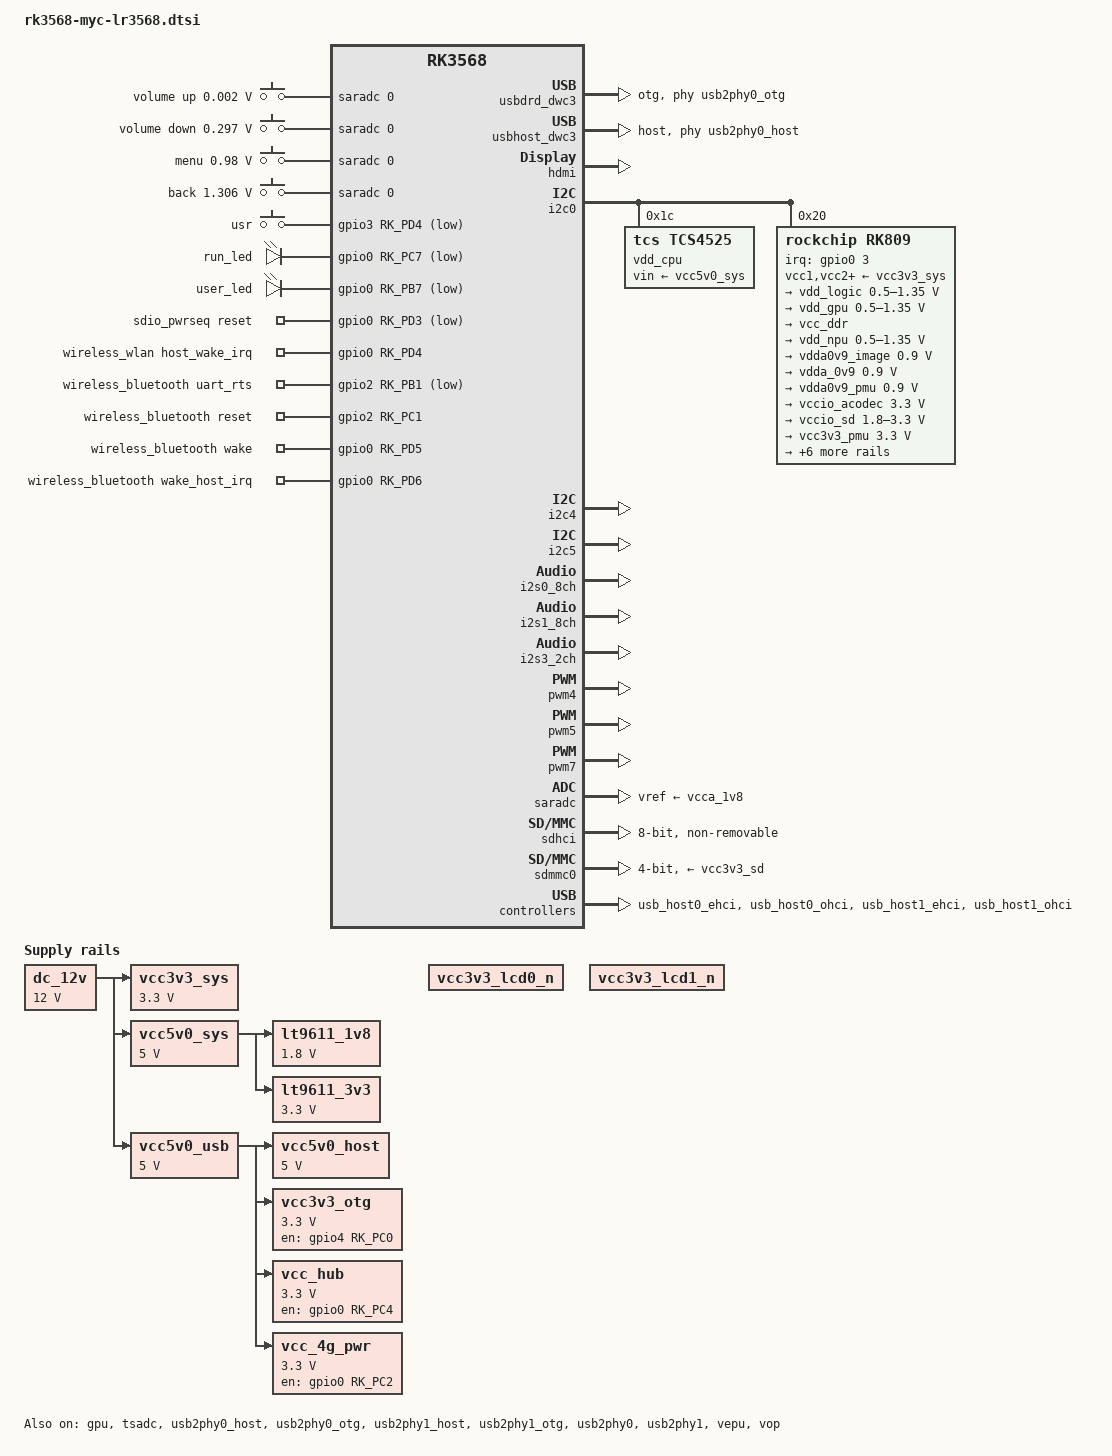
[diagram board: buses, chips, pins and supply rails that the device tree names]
// SPDX-License-Identifier: (GPL-2.0+ OR MIT)
/*
 * Copyright (c) 2020 Rockchip Electronics Co., Ltd.
 *
 */

#include <dt-bindings/gpio/gpio.h>
#include <dt-bindings/pwm/pwm.h>
#include <dt-bindings/pinctrl/rockchip.h>
// #include <dt-bindings/input/rk-input.h>
#include <dt-bindings/input/linux-event-codes.h>
//#include <dt-bindings/display/drm_mipi_dsi.h>
//#include <dt-bindings/sensor-dev.h>

/ {

	adc_keys: adc-keys {
		compatible = "adc-keys";
		io-channels = <&saradc 0>;
		io-channel-names = "buttons";
		keyup-threshold-microvolt = <1800000>;
		poll-interval = <100>;

		vol-up-key {
			label = "volume up";
			linux,code = <KEY_VOLUMEUP>;
			press-threshold-microvolt = <1750>;
		};

		vol-down-key {
			label = "volume down";
			linux,code = <KEY_VOLUMEDOWN>;
			press-threshold-microvolt = <297500>;
		};

		menu-key {
			label = "menu";
			linux,code = <KEY_MENU>;
			press-threshold-microvolt = <980000>;
		};

		back-key {
			label = "back";
			linux,code = <KEY_BACK>;
			press-threshold-microvolt = <1305500>;
		};
	};

	gpio-keys {
		status = "okay";
		compatible = "gpio-keys";
		autorepeat;
		usr {
			label = "usr";
			linux,code = <KEY_HOME>;
			gpios = <&gpio3 RK_PD4 GPIO_ACTIVE_LOW>;
		};
	};

/*	audiopwmout_diff: audiopwmout-diff {
		status = "disabled";
		compatible = "simple-audio-card";
		simple-audio-card,format = "i2s";
		simple-audio-card,name = "rockchip,audiopwmout-diff";
		simple-audio-card,mclk-fs = <256>;
		simple-audio-card,bitclock-master = <&master>;
		simple-audio-card,frame-master = <&master>;
		simple-audio-card,cpu {
			sound-dai = <&i2s3_2ch>;
		};
		master: simple-audio-card,codec {
			sound-dai = <&dig_acodec>;
		};
	};

	backlight: backlight {
		compatible = "pwm-backlight";
		pwms = <&pwm4 0 25000 0>;
		brightness-levels = <
			  0  20  20  21  21  22  22  23
			 23  24  24  25  25  26  26  27
			 27  28  28  29  29  30  30  31
			 31  32  32  33  33  34  34  35
			 35  36  36  37  37  38  38  39
			 40  41  42  43  44  45  46  47
			 48  49  50  51  52  53  54  55
			 56  57  58  59  60  61  62  63
			 64  65  66  67  68  69  70  71
			 72  73  74  75  76  77  78  79
			 80  81  82  83  84  85  86  87
			 88  89  90  91  92  93  94  95
			 96  97  98  99 100 101 102 103
			104 105 106 107 108 109 110 111
			112 113 114 115 116 117 118 119
			120 121 122 123 124 125 126 127
			128 129 130 131 132 133 134 135
			136 137 138 139 140 141 142 143
			144 145 146 147 148 149 150 151
			152 153 154 155 156 157 158 159
			160 161 162 163 164 165 166 167
			168 169 170 171 172 173 174 175
			176 177 178 179 180 181 182 183
			184 185 186 187 188 189 190 191
			192 193 194 195 196 197 198 199
			200 201 202 203 204 205 206 207
			208 209 210 211 212 213 214 215
			216 217 218 219 220 221 222 223
			224 225 226 227 228 229 230 231
			232 233 234 235 236 237 238 239
			240 241 242 243 244 245 246 247
			248 249 250 251 252 253 254 255
		>;
		default-brightness-level = <255>;
	};*/

	bt_sco: bt-sco {
		status = "okay";
		compatible = "delta,dfbmcs320";
		#sound-dai-cells = <1>;
	};

	bt_sound: bt-sound {
		status = "okay";
		compatible = "simple-audio-card";
		simple-audio-card,format = "dsp_a";
		simple-audio-card,bitclock-inversion;
		simple-audio-card,mclk-fs = <256>;
		simple-audio-card,name = "rockchip,bt";
		simple-audio-card,cpu {
			sound-dai = <&i2s3_2ch>;
		};
		simple-audio-card,codec {
			sound-dai = <&bt_sco 1>;
		};
	};

	dc_12v: dc-12v {
		compatible = "regulator-fixed";
		regulator-name = "dc_12v";
		regulator-always-on;
		regulator-boot-on;
		regulator-min-microvolt = <12000000>;
		regulator-max-microvolt = <12000000>;
	};

	lt9611_1v8: lt9611-1v8 {
		compatible = "regulator-fixed";
		regulator-name = "lt9611_1v8";
		regulator-always-on;
		regulator-boot-on;
		regulator-min-microvolt = <1800000>;
		regulator-max-microvolt = <1800000>;
		vin-supply = <&vcc5v0_sys>;
	};

	lt9611_3v3: lt9611-3v3 {
		compatible = "regulator-fixed";
		regulator-name = "lt9611_3v3";
		regulator-always-on;
		regulator-boot-on;
		regulator-min-microvolt = <3300000>;
		regulator-max-microvolt = <3300000>;
		vin-supply = <&vcc5v0_sys>;
	};

	hdmi_sound: hdmi-sound {
		compatible = "simple-audio-card";
		simple-audio-card,format = "i2s";
		simple-audio-card,mclk-fs = <128>;
		simple-audio-card,name = "rockchip,hdmi";
		status = "disabled";

		simple-audio-card,cpu {
				sound-dai = <&i2s0_8ch>;
		};
		simple-audio-card,codec {
				sound-dai = <&hdmi>;
		};
	};

	leds: leds {
		compatible = "gpio-leds";
		run_led: run {
			gpios = <&gpio0 RK_PC7 GPIO_ACTIVE_LOW>;
			linux,default-trigger = "heartbeat";
		};

		user_led: user {
			gpios = <&gpio0 RK_PB7 GPIO_ACTIVE_LOW>;
			linux,default-trigger = "heartbeat";
		};
	};

	pdmics: dummy-codec {
		status = "disabled";
		compatible = "rockchip,dummy-codec";
		#sound-dai-cells = <0>;
	};

	pdm_mic_array: pdm-mic-array {
		status = "disabled";
		compatible = "simple-audio-card";
		simple-audio-card,name = "rockchip,pdm-mic-array";
		simple-audio-card,cpu {
			sound-dai = <&pdm>;
		};
		simple-audio-card,codec {
			sound-dai = <&pdmics>;
		};
	};

/*	rk809_sound: rk809-sound {
		status = "okay";
		compatible = "rockchip,multicodecs-card";
		rockchip,card-name = "rockchip-rk809";
		hp-det-gpio = <&gpio3 RK_PA2 GPIO_ACTIVE_HIGH>;
		rockchip,format = "i2s";
		rockchip,mclk-fs = <256>;
		rockchip,cpu = <&i2s1_8ch>;
		rockchip,codec = <&rk809_codec>;
		pinctrl-names = "default";
		pinctrl-0 = <&hp_det>;
	};

	vad_sound: vad-sound {
		status = "disabled";
		compatible = "rockchip,multicodecs-card";
		rockchip,card-name = "rockchip,rk3568-vad";
		rockchip,cpu = <&i2s1_8ch>;
		rockchip,codec = <&rk809_codec>, <&vad>;
	};*/

	vcc3v3_sys: vcc3v3-sys {
		compatible = "regulator-fixed";
		regulator-name = "vcc3v3_sys";
		regulator-always-on;
		regulator-boot-on;
		regulator-min-microvolt = <3300000>;
		regulator-max-microvolt = <3300000>;
		vin-supply = <&dc_12v>;
	};

	vcc5v0_sys: vcc5v0-sys {
		compatible = "regulator-fixed";
		regulator-name = "vcc5v0_sys";
		regulator-always-on;
		regulator-boot-on;
		regulator-min-microvolt = <5000000>;
		regulator-max-microvolt = <5000000>;
		vin-supply = <&dc_12v>;
	};

	vcc5v0_usb: vcc5v0-usb {
		compatible = "regulator-fixed";
		regulator-name = "vcc5v0_usb";
		regulator-always-on;
		regulator-boot-on;
		regulator-min-microvolt = <5000000>;
		regulator-max-microvolt = <5000000>;
		vin-supply = <&dc_12v>;
	};

	vcc5v0_host: vcc5v0-host-regulator {
		compatible = "regulator-fixed";
		regulator-name = "vcc5v0_host";
		regulator-boot-on;
		regulator-always-on;
		regulator-min-microvolt = <5000000>;
		regulator-max-microvolt = <5000000>;
		enable-active-high;
		vin-supply = <&vcc5v0_usb>;
	};

	vcc3v3_otg: vcc3v3-otg-regulator {
		compatible = "regulator-fixed";
		regulator-name = "vcc3v3_otg";
		regulator-min-microvolt = <3300000>;
		regulator-max-microvolt = <3300000>;
		enable-active-high;
		gpio = <&gpio4 RK_PC0 GPIO_ACTIVE_HIGH>;
		vin-supply = <&vcc5v0_usb>;
		pinctrl-names = "default";
		pinctrl-0 = <&vcc3v3_otg_en>;
	};

	vcc_hub: vcc-hub-regulator {
		compatible = "regulator-fixed";
		regulator-name = "vcc_hub";
		regulator-min-microvolt = <3300000>;
		regulator-max-microvolt = <3300000>;
		enable-active-high;
		regulator-always-on;
		regulator-boot-on;
		gpio = <&gpio0 RK_PC4 GPIO_ACTIVE_HIGH>;
		vin-supply = <&vcc5v0_usb>;
		pinctrl-names = "default";
		pinctrl-0 = <&usb_hub>;
	};

	vcc_4g_pwr: 4g-pwr-regulator {
		compatible = "regulator-fixed";
		regulator-name = "vcc_4g_pwr";
		regulator-min-microvolt = <3300000>;
		regulator-max-microvolt = <3300000>;
		enable-active-high;
		regulator-always-on;
		regulator-boot-on;
		gpio = <&gpio0 RK_PC2 GPIO_ACTIVE_HIGH>;
		vin-supply = <&vcc5v0_usb>;
		pinctrl-names = "default";
		pinctrl-0 = <&usb_4g_pwr>;
	};

	vcc3v3_lcd0_n: vcc3v3-lcd0-n {
		compatible = "regulator-fixed";
		regulator-name = "vcc3v3_lcd0_n";
		regulator-boot-on;
		regulator-state-mem {
			regulator-off-in-suspend;
		};
	};

	vcc3v3_lcd1_n: vcc3v3-lcd1-n {
		compatible = "regulator-fixed";
		regulator-name = "vcc3v3_lcd1_n";
		regulator-boot-on;
		regulator-state-mem {
			regulator-off-in-suspend;
		};
	};

	sdio_pwrseq: sdio-pwrseq {
		compatible = "mmc-pwrseq-simple";
		clocks = <&rk809 1>;
		clock-names = "ext_clock";
		pinctrl-names = "default";
		pinctrl-0 = <&wifi_enable_h>;

		/*
		 * On the module itself this is one of these (depending
		 * on the actual card populated):
		 * - SDIO_RESET_L_WL_REG_ON
		 * - PDN (power down when low)
		 */
		post-power-on-delay-ms = <200>;
		reset-gpios = <&gpio0 RK_PD3 GPIO_ACTIVE_LOW>;
		status = "okay";
	};

	wireless_wlan: wireless-wlan {
		compatible = "wlan-platdata";
		rockchip,grf = <&grf>;
		wifi_chip_type = "ap6256";
		pinctrl-names = "default";
		pinctrl-0 = <&wifi_host_wake_irq>;
		WIFI,host_wake_irq = <&gpio0 RK_PD4 GPIO_ACTIVE_HIGH>;
		// WIFI,poweren_gpio = <&gpio0 RK_PD3 GPIO_ACTIVE_HIGH>;
		status = "okay";
	};

	wireless_bluetooth: wireless-bluetooth {
		compatible = "bluetooth-platdata";
		clocks = <&rk809 1>;
		clock-names = "ext_clock";
		//wifi-bt-power-toggle;
		uart_rts_gpios = <&gpio2 RK_PB1 GPIO_ACTIVE_LOW>;
		pinctrl-names = "default", "rts_gpio";
		pinctrl-0 = <&uart8m0_rtsn>;
		pinctrl-1 = <&uart8_gpios>;
		BT,reset_gpio    = <&gpio2 RK_PC1 GPIO_ACTIVE_HIGH>;
		BT,wake_gpio     = <&gpio0 RK_PD5 GPIO_ACTIVE_HIGH>;
		BT,wake_host_irq = <&gpio0 RK_PD6 GPIO_ACTIVE_HIGH>;
		status = "okay";
	};

	test-power {
		status = "okay";
	};

	usbdrd30: usbdrd {
		compatible = "rockchip,rk3568-dwc3", "rockchip,rk3399-dwc3";
		clocks = <&cru CLK_USB3OTG0_REF>, <&cru CLK_USB3OTG0_SUSPEND>,
			 <&cru ACLK_USB3OTG0>, <&cru PCLK_PIPE>;
		clock-names = "ref_clk", "suspend_clk",
			      "bus_clk", "pipe_clk";
		#address-cells = <2>;
		#size-cells = <2>;
		ranges;
		status = "disabled";

		usbdrd_dwc3: dwc3@fcc00000 {
			compatible = "snps,dwc3";
			reg = <0x0 0xfcc00000 0x0 0x400000>;
			interrupts = <GIC_SPI 169 IRQ_TYPE_LEVEL_HIGH>;
			dr_mode = "otg";
			phys = <&usb2phy0_otg>, <&combphy0 PHY_TYPE_USB3>;
			phy-names = "usb2-phy", "usb3-phy";
			phy_type = "utmi_wide";
			power-domains = <&power RK3568_PD_PIPE>;
			resets = <&cru SRST_USB3OTG0>;
			reset-names = "usb3-otg";
			snps,dis_enblslpm_quirk;
			snps,dis-u1-entry-quirk;
			snps,dis-u2-entry-quirk;
			snps,dis-u2-freeclk-exists-quirk;
			snps,dis-del-phy-power-chg-quirk;
			snps,dis-tx-ipgap-linecheck-quirk;
			snps,dis_rxdet_inp3_quirk;
			snps,parkmode-disable-hs-quirk;
			snps,parkmode-disable-ss-quirk;
			quirk-skip-phy-init;
			status = "disabled";
		};
	};

	usbhost30: usbhost {
		compatible = "rockchip,rk3568-dwc3", "rockchip,rk3399-dwc3";
		clocks = <&cru CLK_USB3OTG1_REF>, <&cru CLK_USB3OTG1_SUSPEND>,
			 <&cru ACLK_USB3OTG1>, <&cru PCLK_PIPE>;
		clock-names = "ref_clk", "suspend_clk",
			      "bus_clk", "pipe_clk";
		#address-cells = <2>;
		#size-cells = <2>;
		ranges;
		status = "disabled";

		usbhost_dwc3: dwc3@fd000000 {
			compatible = "snps,dwc3";
			reg = <0x0 0xfd000000 0x0 0x400000>;
			interrupts = <GIC_SPI 170 IRQ_TYPE_LEVEL_HIGH>;
			dr_mode = "host";
			phys = <&usb2phy0_host>, <&combphy1 PHY_TYPE_USB3>;
			phy-names = "usb2-phy", "usb3-phy";
			phy_type = "utmi_wide";
			power-domains = <&power RK3568_PD_PIPE>;
			resets = <&cru SRST_USB3OTG1>;
			reset-names = "usb3-host";
			snps,dis_enblslpm_quirk;
			snps,dis-u2-freeclk-exists-quirk;
			snps,dis-del-phy-power-chg-quirk;
			snps,dis-tx-ipgap-linecheck-quirk;
			snps,dis_rxdet_inp3_quirk;
			snps,parkmode-disable-hs-quirk;
			snps,parkmode-disable-ss-quirk;
			status = "disabled";
		};
	};
/*
	usb2phy0: usb2-phy@fe8a0000 {
		compatible = "rockchip,rk3568-usb2phy";
		reg = <0x0 0xfe8a0000 0x0 0x10000>;
		interrupts = <GIC_SPI 135 IRQ_TYPE_LEVEL_HIGH>;
		clocks = <&pmucru CLK_USBPHY0_REF>;
		clock-names = "phyclk";
		#clock-cells = <0>;
		assigned-clocks = <&cru USB480M>;
		assigned-clock-parents = <&usb2phy0>;
		clock-output-names = "usb480m_phy";
		rockchip,usbgrf = <&usb2phy0_grf>;
		status = "disabled";

		u2phy0_host: host-port {
			#phy-cells = <0>;
			status = "disabled";
		};

		u2phy0_otg: otg-port {
			#phy-cells = <0>;
			status = "disabled";
		};
	};

	usb2phy1: usb2-phy@fe8b0000 {
		compatible = "rockchip,rk3568-usb2phy";
		reg = <0x0 0xfe8b0000 0x0 0x10000>;
		interrupts = <GIC_SPI 136 IRQ_TYPE_LEVEL_HIGH>;
		clocks = <&pmucru CLK_USBPHY1_REF>;
		clock-names = "phyclk";
		#clock-cells = <0>;
		rockchip,usbgrf = <&usb2phy1_grf>;
		status = "disabled";

		u2phy1_host: host-port {
			#phy-cells = <0>;
			status = "disabled";
		};

		u2phy1_otg: otg-port {
			#phy-cells = <0>;
			status = "disabled";
		};
	};*/
};

// &bus_npu {
// 	bus-supply = <&vdd_logic>;
// 	pvtm-supply = <&vdd_cpu>;
// 	status = "okay";
// };

&cpu0 {
	cpu-supply = <&vdd_cpu>;
};

// &dfi {
// 	status = "okay";
// };
//
// &dmc {
// 	center-supply = <&vdd_logic>;
// 	status = "okay";
// };

&dsi0 {
	status = "disabled";
};

&dsi1 {
	status = "disabled";
	rockchip,lane-rate = <1200>;
	ports {
		#address-cells = <1>;
		#size-cells = <0>;

		port@1 {
			reg = <1>;
			dsi1_out_lt9611: endpoint {
				remote-endpoint = <&lt9611_in_dsi1>;
			};
		};
	};
};

&gpu {
	mali-supply = <&vdd_gpu>;
	status = "okay";
};

&hdmi {
	status = "okay";
	rockchip,phy-table =
		<92812500  0x8009 0x0000 0x0270>,
		<165000000 0x800b 0x0000 0x026d>,
		<185625000 0x800b 0x0000 0x01ed>,
		<297000000 0x800b 0x0000 0x01ad>,
		<594000000 0x8029 0x0000 0x0088>,
		<000000000 0x0000 0x0000 0x0000>;
};

// &hdmi_in_vp0 {
// 	status = "okay";
// };

// &hdmi_in_vp1 {
// 	status = "disabled";
// };

&hdmi_sound {
	status = "disabled";
};

/*
 * video_phy1 needs to be enabled
 * when dsi1 is enabled
 */
// &video_phy1 {
// 	status = "disabled";
// };

// &dsi1_in_vp0 {
// 	status = "disabled";
// };

&i2c0 {
	status = "okay";

	vdd_cpu: tcs4525@1c {
		compatible = "tcs,tcs4525";
		reg = <0x1c>;
		vin-supply = <&vcc5v0_sys>;
		regulator-compatible = "fan53555-reg";
		regulator-name = "vdd_cpu";
		regulator-min-microvolt = <712500>;
		regulator-max-microvolt = <1390000>;
		regulator-init-microvolt = <900000>;
		regulator-ramp-delay = <2300>;
		fcs,suspend-voltage-selector = <1>;
		regulator-boot-on;
		regulator-always-on;
		regulator-state-mem {
			regulator-off-in-suspend;
		};
	};

	rk809: pmic@20 {
		compatible = "rockchip,rk809";
		reg = <0x20>;
		interrupt-parent = <&gpio0>;
		interrupts = <3 IRQ_TYPE_LEVEL_LOW>;

		pinctrl-names = "default", "pmic-sleep",
				"pmic-power-off", "pmic-reset";
		pinctrl-0 = <&pmic_int>;
		pinctrl-1 = <&soc_slppin_slp>, <&rk817_slppin_slp>;
		pinctrl-2 = <&soc_slppin_gpio>, <&rk817_slppin_pwrdn>;
		pinctrl-3 = <&soc_slppin_gpio>, <&rk817_slppin_rst>;

		rockchip,system-power-controller;
		wakeup-source;
		#clock-cells = <1>;
		clock-output-names = "rk808-clkout1", "rk808-clkout2";
		//fb-inner-reg-idxs = <2>;
		/* 1: rst regs (default in codes), 0: rst the pmic */
		pmic-reset-func = <0>;
		/* not save the PMIC_POWER_EN register in uboot */
		not-save-power-en = <1>;

		vcc1-supply = <&vcc3v3_sys>;
		vcc2-supply = <&vcc3v3_sys>;
		vcc3-supply = <&vcc3v3_sys>;
		vcc4-supply = <&vcc3v3_sys>;
		vcc5-supply = <&vcc3v3_sys>;
		vcc6-supply = <&vcc3v3_sys>;
		vcc7-supply = <&vcc3v3_sys>;
		vcc8-supply = <&vcc3v3_sys>;
		vcc9-supply = <&vcc3v3_sys>;

		pwrkey {
			status = "okay";
		};

		pinctrl_rk8xx: pinctrl_rk8xx {
			gpio-controller;
			#gpio-cells = <2>;

			rk817_slppin_null: rk817_slppin_null {
				pins = "gpio_slp";
				function = "pin_fun0";
			};

			rk817_slppin_slp: rk817_slppin_slp {
				pins = "gpio_slp";
				function = "pin_fun1";
			};

			rk817_slppin_pwrdn: rk817_slppin_pwrdn {
				pins = "gpio_slp";
				function = "pin_fun2";
			};

			rk817_slppin_rst: rk817_slppin_rst {
				pins = "gpio_slp";
				function = "pin_fun3";
			};
		};

		regulators {
			vdd_logic: DCDC_REG1 {
				regulator-always-on;
				regulator-boot-on;
				regulator-min-microvolt = <500000>;
				regulator-max-microvolt = <1350000>;
				regulator-init-microvolt = <900000>;
				regulator-ramp-delay = <6001>;
				regulator-initial-mode = <0x2>;
				regulator-name = "vdd_logic";
				regulator-state-mem {
					regulator-off-in-suspend;
				};
			};

			vdd_gpu: DCDC_REG2 {
				regulator-always-on;
				regulator-boot-on;
				regulator-min-microvolt = <500000>;
				regulator-max-microvolt = <1350000>;
				regulator-init-microvolt = <900000>;
				regulator-ramp-delay = <6001>;
				regulator-initial-mode = <0x2>;
				regulator-name = "vdd_gpu";
				regulator-state-mem {
					regulator-off-in-suspend;
				};
			};

			vcc_ddr: DCDC_REG3 {
				regulator-always-on;
				regulator-boot-on;
				regulator-initial-mode = <0x2>;
				regulator-name = "vcc_ddr";
				regulator-state-mem {
					regulator-on-in-suspend;
				};
			};

			vdd_npu: DCDC_REG4 {
				regulator-always-on;
				regulator-boot-on;
				regulator-min-microvolt = <500000>;
				regulator-max-microvolt = <1350000>;
				regulator-init-microvolt = <900000>;
				regulator-ramp-delay = <6001>;
				regulator-initial-mode = <0x2>;
				regulator-name = "vdd_npu";
				regulator-state-mem {
					regulator-off-in-suspend;
				};
			};

			vdda0v9_image: LDO_REG1 {
				regulator-boot-on;
				regulator-always-on;
				regulator-min-microvolt = <900000>;
				regulator-max-microvolt = <900000>;
				regulator-name = "vdda0v9_image";
				regulator-state-mem {
					regulator-off-in-suspend;
				};
			};

			vdda_0v9: LDO_REG2 {
				regulator-always-on;
				regulator-boot-on;
				regulator-min-microvolt = <900000>;
				regulator-max-microvolt = <900000>;
				regulator-name = "vdda_0v9";
				regulator-state-mem {
					regulator-off-in-suspend;
				};
			};

			vdda0v9_pmu: LDO_REG3 {
				regulator-always-on;
				regulator-boot-on;
				regulator-min-microvolt = <900000>;
				regulator-max-microvolt = <900000>;
				regulator-name = "vdda0v9_pmu";
				regulator-state-mem {
					regulator-on-in-suspend;
					regulator-suspend-microvolt = <900000>;
				};
			};

			vccio_acodec: LDO_REG4 {
				regulator-always-on;
				regulator-boot-on;
				regulator-min-microvolt = <3300000>;
				regulator-max-microvolt = <3300000>;
				regulator-name = "vccio_acodec";
				regulator-state-mem {
					regulator-off-in-suspend;
				};
			};

			vccio_sd: LDO_REG5 {
				regulator-always-on;
				regulator-boot-on;
				regulator-min-microvolt = <1800000>;
				regulator-max-microvolt = <3300000>;
				regulator-name = "vccio_sd";
				regulator-state-mem {
					regulator-off-in-suspend;
				};
			};

			vcc3v3_pmu: LDO_REG6 {
				regulator-always-on;
				regulator-boot-on;
				regulator-min-microvolt = <3300000>;
				regulator-max-microvolt = <3300000>;
				regulator-name = "vcc3v3_pmu";
				regulator-state-mem {
					regulator-on-in-suspend;
					regulator-suspend-microvolt = <3300000>;
				};
			};

			vcca_1v8: LDO_REG7 {
				regulator-always-on;
				regulator-boot-on;
				regulator-min-microvolt = <1800000>;
				regulator-max-microvolt = <1800000>;
				regulator-name = "vcca_1v8";
				regulator-state-mem {
					regulator-off-in-suspend;
				};
			};

			vcca1v8_pmu: LDO_REG8 {
				regulator-always-on;
				regulator-boot-on;
				regulator-min-microvolt = <1800000>;
				regulator-max-microvolt = <1800000>;
				regulator-name = "vcca1v8_pmu";
				regulator-state-mem {
					regulator-on-in-suspend;
					regulator-suspend-microvolt = <1800000>;
				};
			};

			vcca1v8_image: LDO_REG9 {
				regulator-always-on;
				regulator-boot-on;
				regulator-min-microvolt = <1800000>;
				regulator-max-microvolt = <1800000>;
				regulator-name = "vcca1v8_image";
				regulator-state-mem {
					regulator-off-in-suspend;
				};
			};

			vcc_1v8: DCDC_REG5 {
				regulator-always-on;
				regulator-boot-on;
				regulator-min-microvolt = <1800000>;
				regulator-max-microvolt = <1800000>;
				regulator-name = "vcc_1v8";
				regulator-state-mem {
					regulator-off-in-suspend;
				};
			};

			vcc_3v3: SWITCH_REG1 {
				regulator-always-on;
				regulator-boot-on;
				regulator-name = "vcc_3v3";
				regulator-state-mem {
					regulator-off-in-suspend;
				};
			};

			vcc3v3_sd: SWITCH_REG2 {
				regulator-always-on;
				regulator-boot-on;
				regulator-name = "vcc3v3_sd";
				regulator-state-mem {
					regulator-off-in-suspend;
				};
			};
		};

		// rk809_codec: codec {
		// 	#sound-dai-cells = <1>;
		// 	compatible = "rockchip,rk809-codec", "rockchip,rk817-codec";
		// 	clocks = <&cru I2S1_MCLKOUT>;
		// 	clock-names = "mclk";
		// 	assigned-clocks = <&cru I2S1_MCLKOUT>, <&cru I2S1_MCLK_TX_IOE>;
		// 	assigned-clock-rates = <12288000>;
		// 	assigned-clock-parents = <&cru I2S1_MCLKOUT_TX>, <&cru I2S1_MCLKOUT_TX>;
		// 	pinctrl-names = "default";
		// 	pinctrl-0 = <&i2s1m0_mclk>;
		// 	hp-volume = <20>;
		// 	spk-volume = <3>;
		// 	mic-in-differential;
		// 	status = "okay";
		// };
	};
};

&i2c1 {
	status = "disabled";

	gt1x: gt1x@14 {
		compatible = "goodix,gt1x";
		reg = <0x14>;
		pinctrl-names = "default";
		pinctrl-0 = <&touch_gpio>;
		goodix,rst-gpio = <&gpio0 RK_PB6 GPIO_ACTIVE_HIGH>;
		goodix,irq-gpio = <&gpio0 RK_PB5 IRQ_TYPE_LEVEL_LOW>;
	};
};

&i2c4 {
	status = "okay";
	lt9611_bridge: bridge@39 {
		status = "disabled";
		compatible = "lontium,lt9611";
		reg = <0x39>;
		interrupts-extended = <&gpio3 RK_PA7 IRQ_TYPE_EDGE_FALLING>;
		reset-gpios = <&gpio3 RK_PA1 GPIO_ACTIVE_HIGH>;
		enable-gpios = <&gpio4 RK_PB4 GPIO_ACTIVE_HIGH>;
		vdd-supply = <&lt9611_1v8>;
		vcc-supply = <&lt9611_3v3>;

		ports {
			#address-cells = <1>;
			#size-cells = <0>;

			port@0 {
				reg = <0>;
				lt9611_in_dsi1: endpoint {
					remote-endpoint = <&dsi1_out_lt9611>;
				};
			};
		};
	};
};

&i2c5 {
	status = "okay";
};

&i2s0_8ch {
	status = "okay";
};

&i2s1_8ch {
	status = "okay";
	rockchip,clk-trcm = <1>;
	pinctrl-names = "default";
	pinctrl-0 = <&i2s1m0_sclktx
		     &i2s1m0_lrcktx
		     &i2s1m0_sdi0
		     &i2s1m0_sdo0>;
};

&i2s3_2ch {
	pinctrl-0 = <&i2s3m0_sclk &i2s3m0_lrck &i2s3m0_sdi &i2s3m0_sdo>;
	rockchip,bclk-fs = <32>;
	status = "okay";
};

// &iep {
// 	status = "okay";
// };
//
// &iep_mmu {
// 	status = "okay";
// };

// &jpegd {
// 	status = "okay";
// };
//
// &jpegd_mmu {
// 	status = "okay";
// };

// &mpp_srv {
// 	status = "okay";
// };

// &nandc0 {
// 	#address-cells = <1>;
// 	#size-cells = <0>;
// 	status = "okay";
//
// 	nand@0 {
// 		reg = <0>;
// 		nand-bus-width = <8>;
// 		nand-ecc-mode = "hw";
// 		nand-ecc-strength = <16>;
// 		nand-ecc-step-size = <1024>;
// 	};
// };

&pinctrl {

	headphone {
		hp_det: hp-det {
			rockchip,pins = <3 RK_PA2 RK_FUNC_GPIO &pcfg_pull_down>;
		};
	};

	pmic {
		pmic_int: pmic_int {
			rockchip,pins =
				<0 RK_PA3 RK_FUNC_GPIO &pcfg_pull_up>;
		};

		soc_slppin_gpio: soc_slppin_gpio {
			rockchip,pins =
				<0 RK_PA2 RK_FUNC_GPIO &pcfg_output_low>;
		};

		soc_slppin_slp: soc_slppin_slp {
			rockchip,pins =
				<0 RK_PA2 1 &pcfg_pull_none>;
		};

		soc_slppin_rst: soc_slppin_rst {
			rockchip,pins =
				<0 RK_PA2 2 &pcfg_pull_none>;
		};
	};

	touch {
		touch_gpio: touch-gpio {
			rockchip,pins =
				<0 RK_PB5 RK_FUNC_GPIO &pcfg_pull_up>,
				<0 RK_PB6 RK_FUNC_GPIO &pcfg_pull_none>;
		};
	};

	sdio-pwrseq {
		wifi_enable_h: wifi-enable-h {
			rockchip,pins = <0 RK_PD3 RK_FUNC_GPIO &pcfg_pull_none>;
		};
	};

	usb {
		vcc3v3_otg_en: vcc3v3-otg-en {
			rockchip,pins = <4 RK_PC0 RK_FUNC_GPIO &pcfg_pull_none>;
		};
	};

	usb-hub {
		usb_hub: usb-hub {
			rockchip,pins = <0 RK_PC4 RK_FUNC_GPIO &pcfg_pull_up>;
		};
	};

	usb-4g-pwr {
		usb_4g_pwr: usb-4g-pwr {
			rockchip,pins = <0 RK_PC2 RK_FUNC_GPIO &pcfg_pull_up>;
		};
	};

	wireless-wlan {
		wifi_host_wake_irq: wifi-host-wake-irq {
			rockchip,pins = <0 RK_PD4 RK_FUNC_GPIO &pcfg_pull_down>;
		};
	};

	wireless-bluetooth {
		uart8_gpios: uart8-gpios {
			rockchip,pins = <2 RK_PB1 RK_FUNC_GPIO &pcfg_pull_none>;
		};
	};
};

 /*
  * There are 10 independent IO domains in RK3566/RK3568, including PMUIO[0:2] and VCCIO[1:7].
  * 1/ PMUIO0 and PMUIO1 are fixed-level power domains which cannot be configured;
  * 2/ PMUIO2 and VCCIO1,VCCIO[3:7] domains require that their hardware power supply voltages
  *    must be consistent with the software configuration correspondingly
  *	a/ When the hardware IO level is connected to 1.8V, the software voltage configuration
  *	   should also be configured to 1.8V accordingly;
  *	b/ When the hardware IO level is connected to 3.3V, the software voltage configuration
  *	   should also be configured to 3.3V accordingly;
  * 3/ VCCIO2 voltage control selection (0xFDC20140)
  *	BIT[0]: 0x0: from GPIO_0A7 (default)
  *	BIT[0]: 0x1: from GRF
  *    Default is determined by Pin FLASH_VOL_SEL/GPIO0_A7:
  *	L:VCCIO2 must supply 3.3V
  *	H:VCCIO2 must supply 1.8V
  */
&pmu_io_domains {
	status = "okay";
	pmuio2-supply = <&vcc3v3_pmu>;
	vccio1-supply = <&vccio_acodec>;
	vccio3-supply = <&vccio_sd>;
	vccio4-supply = <&vcc_1v8>;
	vccio5-supply = <&vcc_3v3>;
	vccio6-supply = <&vcc_1v8>;
	vccio7-supply = <&vcc_3v3>;
};

&pwm4 {
	status = "okay";
};

&pwm5 {
	status = "okay";
};

&pwm7 {
	status = "okay";

	compatible = "rockchip,remotectl-pwm";
	remote_pwm_id = <3>;
	handle_cpu_id = <1>;
	remote_support_psci = <0>;
	pinctrl-names = "default";
	pinctrl-0 = <&pwm7_pins>;

	ir_key1 {
		rockchip,usercode = <0x4040>;
		rockchip,key_table =
			<0xf2	KEY_REPLY>,
			<0xba	KEY_BACK>,
			<0xf4	KEY_UP>,
			<0xf1	KEY_DOWN>,
			<0xef	KEY_LEFT>,
			<0xee	KEY_RIGHT>,
			<0xbd	KEY_HOME>,
			<0xea	KEY_VOLUMEUP>,
			<0xe3	KEY_VOLUMEDOWN>,
			<0xe2	KEY_SEARCH>,
			<0xb2	KEY_POWER>,
			<0xbc	KEY_MUTE>,
			<0xec	KEY_MENU>,
			<0xbf	0x190>,
			<0xe0	0x191>,
			<0xe1	0x192>,
			<0xe9	183>,
			<0xe6	248>,
			<0xe8	185>,
			<0xe7	186>,
			<0xf0	388>,
			<0xbe	0x175>;
	};

	ir_key2 {
		rockchip,usercode = <0xff00>;
		rockchip,key_table =
			<0xf9	KEY_HOME>,
			<0xbf	KEY_BACK>,
			<0xfb	KEY_MENU>,
			<0xaa	KEY_REPLY>,
			<0xb9	KEY_UP>,
			<0xe9	KEY_DOWN>,
			<0xb8	KEY_LEFT>,
			<0xea	KEY_RIGHT>,
			<0xeb	KEY_VOLUMEDOWN>,
			<0xef	KEY_VOLUMEUP>,
			<0xf7	KEY_MUTE>,
			<0xe7	KEY_POWER>,
			<0xfc	KEY_POWER>,
			<0xa9	KEY_VOLUMEDOWN>,
			<0xa8	KEY_VOLUMEDOWN>,
			<0xe0	KEY_VOLUMEDOWN>,
			<0xa5	KEY_VOLUMEDOWN>,
			<0xab	183>,
			<0xb7	388>,
			<0xe8	388>,
			<0xf8	184>,
			<0xaf	185>,
			<0xed	KEY_VOLUMEDOWN>,
			<0xee	186>,
			<0xb3	KEY_VOLUMEDOWN>,
			<0xf1	KEY_VOLUMEDOWN>,
			<0xf2	KEY_VOLUMEDOWN>,
			<0xf3	KEY_SEARCH>,
			<0xb4	KEY_VOLUMEDOWN>,
			<0xbe	KEY_SEARCH>;
	};

	ir_key3 {
		rockchip,usercode = <0x1dcc>;
		rockchip,key_table =
			<0xee	KEY_REPLY>,
			<0xf0	KEY_BACK>,
			<0xf8	KEY_UP>,
			<0xbb	KEY_DOWN>,
			<0xef	KEY_LEFT>,
			<0xed	KEY_RIGHT>,
			<0xfc	KEY_HOME>,
			<0xf1	KEY_VOLUMEUP>,
			<0xfd	KEY_VOLUMEDOWN>,
			<0xb7	KEY_SEARCH>,
			<0xff	KEY_POWER>,
			<0xf3	KEY_MUTE>,
			<0xbf	KEY_MENU>,
			<0xf9	0x191>,
			<0xf5	0x192>,
			<0xb3	388>,
			<0xbe	KEY_1>,
			<0xba	KEY_2>,
			<0xb2	KEY_3>,
			<0xbd	KEY_4>,
			<0xf9	KEY_5>,
			<0xb1	KEY_6>,
			<0xfc	KEY_7>,
			<0xf8	KEY_8>,
			<0xb0	KEY_9>,
			<0xb6	KEY_0>,
			<0xb5	KEY_BACKSPACE>;
	};
};

// &rk_rga {
// 	status = "okay";
// };
//
// &rkvdec {
// 	status = "okay";
// };
//
// &rkvdec_mmu {
// 	status = "okay";
// };
//
// &rkvenc {
// 	venc-supply = <&vdd_logic>;
// 	status = "okay";
// };
//
// &rkvenc_mmu {
// 	status = "okay";
// };
//
// &rknpu {
// 	rknpu-supply = <&vdd_npu>;
// 	status = "okay";
// };
//
// &rknpu_mmu {
// 	status = "okay";
// };
//
// &route_hdmi {
// 	status = "okay";
// 	connect = <&vp0_out_hdmi>;
// };

&saradc {
	status = "okay";
	vref-supply = <&vcca_1v8>;
};

&sdhci {
	bus-width = <8>;
	no-sdio;
	no-sd;
	non-removable;
	max-frequency = <200000000>;
	full-pwr-cycle-in-suspend;
	status = "okay";
};

&sdmmc0 {
	max-frequency = <150000000>;
	no-sdio;
	no-mmc;
	bus-width = <4>;
	cap-mmc-highspeed;
	cap-sd-highspeed;
	disable-wp;
	sd-uhs-sdr104;
	vmmc-supply = <&vcc3v3_sd>;
	vqmmc-supply = <&vccio_sd>;
	pinctrl-names = "default";
	pinctrl-0 = <&sdmmc0_bus4 &sdmmc0_clk &sdmmc0_cmd &sdmmc0_det>;
	status = "okay";
};

&sfc {
	status = "disabled";
};

// &spdif_8ch {
// 	status = "disabled";
// };

&tsadc {
	status = "okay";
};

&usb2phy0_host {
	phy-supply = <&vcc5v0_host>;
	status = "okay";
};

&usb2phy0_otg {
	vbus-supply = <&vcc3v3_otg>;
	status = "okay";
};

&usb2phy1_host {
	phy-supply = <&vcc5v0_host>;
	status = "okay";
};

&usb2phy1_otg {
	phy-supply = <&vcc5v0_host>;
	status = "okay";
};

&usb2phy0 {
	status = "okay";
};

&usb2phy1 {
	status = "okay";
};

&usb_host0_ehci {
	status = "okay";
};

&usb_host0_ohci {
	status = "okay";
};

&usb_host1_ehci {
	status = "okay";
};

&usb_host1_ohci {
	status = "okay";
};

&usbdrd_dwc3 {
	dr_mode = "otg";
	extcon = <&usb2phy0>;
	status = "okay";
};

&usbdrd30 {
	status = "okay";
};

&usbhost_dwc3 {
	status = "okay";
};

&usbhost30 {
	status = "okay";
};

// &vad {
// 	rockchip,audio-src = <&i2s1_8ch>;
// 	rockchip,buffer-time-ms = <128>;
// 	rockchip,det-channel = <0>;
// 	rockchip,mode = <0>;
// };
//
// &vdpu {
// 	status = "okay";
// };

&vdpu_mmu {
	status = "okay";
};

&vepu {
	status = "okay";
};

&vepu_mmu {
	status = "okay";
};

&vop {
	status = "okay";
	assigned-clocks = <&cru DCLK_VOP0>, <&cru DCLK_VOP1>, <&cru DCLK_VOP2>;
	assigned-clock-parents = <&pmucru PLL_HPLL>, <&cru PLL_VPLL>, <&cru PLL_GPLL>;
};

&vop_mmu {
	status = "okay";
};
